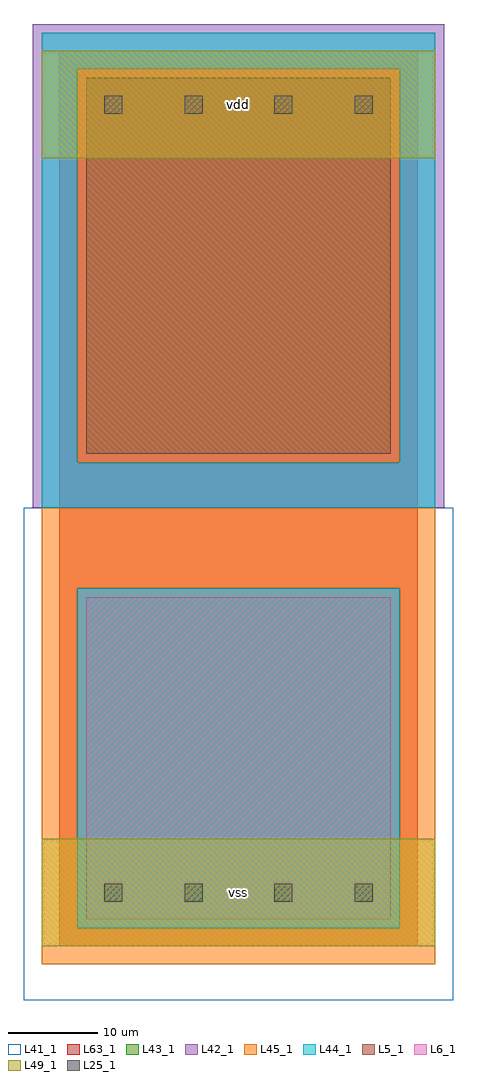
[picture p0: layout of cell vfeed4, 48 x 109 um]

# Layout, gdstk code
import gdstk
lib = gdstk.Library(unit=1e-6, precision=1e-09)
def R(c, l, rs):  # rectangles x0, y0, x1, y1
    for r in rs: c.add(gdstk.rectangle(r[:2], r[2:], *l))
L5_1 = (5, 1)
L6_1 = (6, 1)
L25_1 = (25, 1)
L41_1 = (41, 1)
L42_1 = (42, 1)
L43_1 = (43, 1)
L44_1 = (44, 1)
L45_1 = (45, 1)
L49_1 = (49, 1)
L63_1 = (63, 1)

vfeed4 = lib.new_cell('vfeed4')
R(vfeed4, L5_1, [(3,55,37,97)])
R(vfeed4, L6_1, [(3,3,37,39)])
R(vfeed4, L25_1, [(5,5,7,7), (14,5,16,7), (24,5,26,7), (33,5,35,7), (5,93,7,95), (14,93,16,95), (24,93,26,95), (33,93,35,95)])
R(vfeed4, L41_1, [(-4,-6,44,49), (-3,-3,43,49)])
R(vfeed4, L42_1, [(-3,49,43,103)])
R(vfeed4, L43_1, [(3,3,37,39), (3,55,37,97)])
R(vfeed4, L44_1, [(2,2,38,40), (-2,49,42,54), (-2,54,2,98), (38,54,42,98), (-2,98,42,102)])
R(vfeed4, L45_1, [(-2,-2,42,2), (-2,2,2,40), (38,2,42,40), (-2,40,42,49), (2,54,38,98)])
R(vfeed4, L49_1, [(-2,0,42,12), (-2,88,42,100)])
R(vfeed4, L63_1, [(0,0,40,100)])
vfeed4.add(gdstk.Label('vss', (20,6), layer=49, texttype=1))
vfeed4.add(gdstk.Label('vss', (20,6), layer=49, texttype=1))
vfeed4.add(gdstk.Label('vdd', (20,94), layer=49, texttype=1))
vfeed4.add(gdstk.Label('vdd', (20,94), layer=49, texttype=1))

lib.write_gds('vfeed4.gds')
